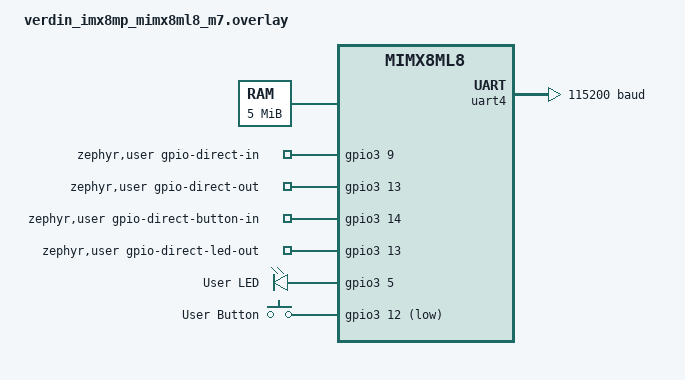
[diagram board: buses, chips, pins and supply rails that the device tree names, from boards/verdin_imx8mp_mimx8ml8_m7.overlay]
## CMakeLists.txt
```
cmake_minimum_required(VERSION 3.20.0)

find_package(Zephyr REQUIRED HINTS $ENV{ZEPHYR_BASE})
project(experiment_zephyr_isr_on_m7)

target_sources(app PRIVATE src/main.c)
```

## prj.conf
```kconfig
CONFIG_GPIO=y
CONFIG_ADC=y
CONFIG_DAC=y
CONFIG_LOG=y
CONFIG_LOG_DEFAULT_LEVEL=3
CONFIG_ASSERT=y
CONFIG_MAIN_STACK_SIZE=2048
```

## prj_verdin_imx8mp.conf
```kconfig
# from prj.conf (Nucleo board)
CONFIG_GPIO=y
CONFIG_ADC=n
CONFIG_DAC=n
CONFIG_LOG=y
# CONFIG_LOG_DEFAULT_LEVEL. 3:INFO
CONFIG_LOG_DEFAULT_LEVEL=3
CONFIG_ASSERT=y
CONFIG_MAIN_STACK_SIZE=2048
CONFIG_ZERO_LATENCY_IRQS=y
CONFIG_LOG_MODE_IMMEDIATE=y

# iMX definitions
CONFIG_SERIAL=y
CONFIG_UART_CONSOLE=y
CONFIG_CONSOLE=y
CONFIG_INPUT=y
CONFIG_FPU=y

# RPMsg service sample integration
# If you want raw, independent UART marker behavior, disable
# printk-to-log redirection (set CONFIG_LOG_PRINTK=n) and keep CONFIG_PRINTK=y.
CONFIG_LOG_PRINTK=n
CONFIG_PRINTK=y
CONFIG_IPM=y
CONFIG_IPM_LOG_LEVEL_INF=y
CONFIG_IPM_IMX_MAX_DATA_SIZE_16=n
CONFIG_IPM_IMX_MAX_DATA_SIZE_4=y
CONFIG_TIMESLICE_SIZE=1
# CONFIG_HEAP_MEM_POOL_SIZE=4096
CONFIG_HEAP_MEM_POOL_SIZE=1024

# OpenAMP
# https://github.com/zephyrproject-rtos/zephyr/blob/main/samples/subsys/ipc/openamp_rsc_table/README.rst
# CONFIG_OPENAMP_MASTER=n
# CONFIG_OPENAMP_SLAVE=y
# CONFIG_OPENAMP_VENDOR_ADDR_TRANSLATION=n
# CONFIG_OPENAMP_VRING_ALIGNMENT=4
# CONFIG_OPENAMP=y

# Add Linux remoteproc-compatible .resource_table to the firmware ELF.
# CONFIG_OPENAMP_RSC_TABLE_IPM_RX_ID=1
# CONFIG_OPENAMP_RSC_TABLE_IPM_TX_ID=0
# CONFIG_OPENAMP_RSC_TABLE_NUM_RPMSG_BUFF=8
# CONFIG_OPENAMP_RSC_TABLE=y


# RPMSG_SERVICE
# CONFIG_RPMSG_SERVICE_LOG_LEVEL_DBG=y
# CONFIG_RPMSG_SERVICE_MODE_REMOTE=y
# CONFIG_RPMSG_SERVICE=y

# https://github.com/zephyrproject-rtos/zephyr/blob/main/samples/subsys/ipc/openamp_rsc_table/prj.conf
# CONFIG_KERNEL_BIN_NAME="zephyr_openamp_rsc_table"
CONFIG_KERNEL_BIN_NAME="zephyr"
# CONFIG_PRINTK=n
CONFIG_IPM=y
CONFIG_MAIN_STACK_SIZE=1024
CONFIG_HEAP_MEM_POOL_SIZE=1024
CONFIG_OPENAMP=y
CONFIG_OPENAMP_RSC_TABLE_NUM_RPMSG_BUFF=8
CONFIG_OPENAMP_RSC_TABLE=y
CONFIG_OPENAMP_MASTER=n

CONFIG_SHELL=y
CONFIG_SHELL_BACKEND_RPMSG=y

# https://github.com/zephyrproject-rtos/zephyr/blob/main/samples/subsys/ipc/openamp_rsc_table/boards/imx8mp_evk_mimx8ml8_m7.conf
CONFIG_IPM_IMX_MAX_DATA_SIZE_16=n
CONFIG_IPM_IMX_MAX_DATA_SIZE_4=y
CONFIG_LOG_BACKEND_UART=y
CONFIG_OPENAMP_RSC_TABLE_IPM_RX_ID=1
CONFIG_OPENAMP_RSC_TABLE_IPM_TX_ID=0

# On UART: uart:~$
# CONFIG_SHELL=y
# CONFIG_SHELL_BACKEND_RPMSG=y

# Old
# CONFIG_RPMSG_SERVICE=y
# CONFIG_RPMSG_SERVICE_MODE_REMOTE=y
# CONFIG_RPMSG_SERVICE_LOG_LEVEL_DBG=y
# 
# # Disable resource table path to avoid vring macro redefinition warnings in
# # rpmsg_backend.c when building this app configuration.
# CONFIG_OPENAMP_RSC_TABLE=n
```

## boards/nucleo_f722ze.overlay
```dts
#include <zephyr/dt-bindings/gpio/gpio.h>

/ {
	zephyr,user {
		gpio-in-gpios = <&gpiog 9 GPIO_ACTIVE_HIGH>;
		gpio-out-gpios = <&gpiog 14 GPIO_ACTIVE_HIGH>;
	};
};

&adc2 {
	st,adc-clock-source = "SYNC";
	st,adc-prescaler = <2>;
	status = "okay";
};

&adc3 {
	st,adc-clock-source = "SYNC";
	st,adc-prescaler = <2>;
	status = "okay";
};

&dac1 {
	status = "okay";
	/* DAC2 (channel 2 of dac1) is also enabled */
};
```

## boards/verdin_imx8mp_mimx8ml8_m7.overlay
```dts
/*
Copied from: https://github.com/zephyrproject-rtos/zephyr/blob/main/samples/subsys/ipc/openamp_rsc_table/boards/imx8mp_evk_mimx8ml8_m7.overlay
*/

#include <zephyr/dt-bindings/gpio/gpio.h>

/ {
	chosen {
		/* Shared memory reserved for inter-processor communication. */
		zephyr,ipc_shm = &shram;
		zephyr,ipc = &mailbox0;
	};

	shram: memory@55000000 {
		compatible = "mmio-sram";
		reg = <0x55000000 0x500000>;
	};

	zephyr,user {
		gpio-direct-in-gpios = <&gpio3 9 GPIO_ACTIVE_HIGH>;
		gpio-direct-out-gpios = <&gpio3 13 GPIO_ACTIVE_HIGH>;

		/* nucleo_f722ze.dts: sw0 = &user_button */
		gpio-direct-button-in-gpios = <&gpio3 14 GPIO_ACTIVE_HIGH>;
		/* led1 = &blue_led */
		gpio-direct-led-out-gpios = <&gpio3 13 GPIO_ACTIVE_HIGH>;
	};
};

&mailbox0 {
	status = "okay";
};

/ {
	leds {
		compatible = "gpio-leds";

		user_led: user_led {
			label = "User LED";
			gpios = <&gpio3 5 GPIO_ACTIVE_HIGH>;
		};
	};

	buttons {
		compatible = "gpio-keys";

		user_button: user_button {
			label = "User Button";
			gpios = <&gpio3 12 GPIO_ACTIVE_LOW>;
			zephyr,code = <INPUT_KEY_0>;
		};
	};

	aliases {
		led0 = &user_led;
		sw0 = &user_button;
	};
};

&uart4 {
	status = "okay";
	current-speed = <115200>;
};

/* Uncomment if UART4 pins are not already configured by the board DTS.

&pinctrl {
	uart4_default: uart4_default {
		group1 {
			fsl,pins = <
				// MX8MP_IOMUXC_<PAD>__UART4_DCE_RX 0x140
				// MX8MP_IOMUXC_<PAD>__UART4_DCE_TX 0x140
			>;
		};
	};
};

&uart4 {
	pinctrl-0 = <&uart4_default>;
	pinctrl-names = "default";
};
*/
```

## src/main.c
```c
// https://github.com/zephyrproject-rtos/zephyr/blob/main/samples/subsys/ipc/openamp_rsc_table/src/main_remote.c

/*
 * Copyright (c) 2020, STMICROELECTRONICS
 *
 * SPDX-License-Identifier: Apache-2.0
 */

#include <zephyr/kernel.h>
#include <zephyr/device.h>
#include <string.h>
#include <stdio.h>
#include <stdlib.h>

#include <zephyr/drivers/ipm.h>

#include <openamp/open_amp.h>
#include <metal/sys.h>
#include <metal/io.h>
#include <resource_table.h>
#include <addr_translation.h>

#ifdef CONFIG_SHELL_BACKEND_RPMSG
#include <zephyr/shell/shell_rpmsg.h>
#endif

#include <zephyr/logging/log.h>
LOG_MODULE_REGISTER(openamp_rsc_table);

#define SHM_DEVICE_NAME	"shm"

#if !DT_HAS_CHOSEN(zephyr_ipc_shm)
#error "Sample requires definition of shared memory for rpmsg"
#endif

#if CONFIG_IPM_MAX_DATA_SIZE > 0

#define	IPM_SEND(dev, w, id, d, s) ipm_send(dev, w, id, d, s)
#else
#define IPM_SEND(dev, w, id, d, s) ipm_send(dev, w, id, NULL, 0)
#endif

/* Constants derived from device tree */
#define SHM_NODE		DT_CHOSEN(zephyr_ipc_shm)
#define SHM_START_ADDR	DT_REG_ADDR(SHM_NODE)
#define SHM_SIZE		DT_REG_SIZE(SHM_NODE)

#define APP_TASK_STACK_SIZE (1024)

/* Add 1024 extra bytes for the TTY task stack for the "tx_buff" buffer. */
#define APP_TTY_TASK_STACK_SIZE (1536)

K_THREAD_STACK_DEFINE(thread_mng_stack, APP_TASK_STACK_SIZE);
K_THREAD_STACK_DEFINE(thread_rp__client_stack, APP_TASK_STACK_SIZE);
K_THREAD_STACK_DEFINE(thread_tty_stack, APP_TTY_TASK_STACK_SIZE);

static struct k_thread thread_mng_data;
static struct k_thread thread_rp__client_data;
static struct k_thread thread_tty_data;

static const struct device *const ipm_handle =
	DEVICE_DT_GET(DT_CHOSEN(zephyr_ipc));

static metal_phys_addr_t shm_physmap = SHM_START_ADDR;
static metal_phys_addr_t rsc_tab_physmap;

static struct metal_io_region shm_io_data; /* shared memory */
static struct metal_io_region rsc_io_data; /* rsc_table memory */

struct rpmsg_rcv_msg {
	void *data;
	size_t len;
};

static struct metal_io_region *shm_io = &shm_io_data;

static struct metal_io_region *rsc_io = &rsc_io_data;
static struct rpmsg_virtio_device rvdev;

static void *rsc_table;
static struct rpmsg_device *rpdev;

static char rx_sc_msg[20];  /* should receive "Hello world!" */
static struct rpmsg_endpoint sc_ept;
static struct rpmsg_rcv_msg sc_msg = {.data = rx_sc_msg};

static struct rpmsg_endpoint tty_ept;
static struct rpmsg_rcv_msg tty_msg;

static K_SEM_DEFINE(data_sem, 0, 1);
static K_SEM_DEFINE(data_sc_sem, 0, 1);
static K_SEM_DEFINE(data_tty_sem, 0, 1);

static void platform_ipm_callback(const struct device *dev, void *context,
				  uint32_t id, volatile void *data)
{
	LOG_DBG("%s: msg received from mb %d", __func__, id);
	k_sem_give(&data_sem);
}

static int rpmsg_recv_cs_callback(struct rpmsg_endpoint *ept, void *data,
				  size_t len, uint32_t src, void *priv)
{
	memcpy(sc_msg.data, data, len);
	sc_msg.len = len;
	k_sem_give(&data_sc_sem);

	return RPMSG_SUCCESS;
}

static int rpmsg_recv_tty_callback(struct rpmsg_endpoint *ept, void *data,
				   size_t len, uint32_t src, void *priv)
{
	struct rpmsg_rcv_msg *msg = priv;

	rpmsg_hold_rx_buffer(ept, data);
	msg->data = data;
	msg->len = len;
	k_sem_give(&data_tty_sem);

	return RPMSG_SUCCESS;
}

static void receive_message(unsigned char **msg, unsigned int *len)
{
	int status = k_sem_take(&data_sem, K_FOREVER);

	if (status == 0) {
		rproc_virtio_notified(rvdev.vdev, VRING1_ID);
	}
}

static void new_service_cb(struct rpmsg_device *rdev, const char *name,
			   uint32_t src)
{
	LOG_ERR("%s: unexpected ns service receive for name %s",
		__func__, name);
}

int mailbox_notify(void *priv, uint32_t id)
{
	ARG_UNUSED(priv);

	LOG_DBG("%s: msg received", __func__);
	IPM_SEND(ipm_handle, 0, id, &id, 4);

	return 0;
}

int platform_init(void)
{
	int rsc_size;
	struct metal_init_params metal_params = METAL_INIT_DEFAULTS;
	int status;

	status = metal_init(&metal_params);
	if (status) {
		LOG_ERR("metal_init: failed: %d", status);
		return -1;
	}

	/* declare shared memory region */
	metal_io_init(shm_io, (void *)SHM_START_ADDR, &shm_physmap,
		      SHM_SIZE, -1, 0, addr_translation_get_ops(shm_physmap));

	/* declare resource table region */
	rsc_table_get(&rsc_table, &rsc_size);
	rsc_tab_physmap = (uintptr_t)rsc_table;

	metal_io_init(rsc_io, rsc_table,
		      &rsc_tab_physmap, rsc_size, -1, 0, NULL);

	/* setup IPM */
	if (!device_is_ready(ipm_handle)) {
		LOG_ERR("IPM device is not ready");
		return -1;
	}

	ipm_register_callback(ipm_handle, platform_ipm_callback, NULL);

	status = ipm_set_enabled(ipm_handle, 1);
	if (status) {
		LOG_ERR("ipm_set_enabled failed");
		return -1;
	}

	return 0;
}

static void cleanup_system(void)
{
	ipm_set_enabled(ipm_handle, 0);
	rpmsg_deinit_vdev(&rvdev);
	metal_finish();
}

struct  rpmsg_device *
platform_create_rpmsg_vdev(unsigned int vdev_index,
			   unsigned int role,
			   void (*rst_cb)(struct virtio_device *vdev),
			   rpmsg_ns_bind_cb ns_cb)
{
	struct fw_rsc_vdev_vring *vring_rsc;
	struct virtio_device *vdev;
	int ret;

	vdev = rproc_virtio_create_vdev(VIRTIO_DEV_DEVICE, VDEV_ID,
					rsc_table_to_vdev(rsc_table),
					rsc_io, NULL, mailbox_notify, NULL);

	if (!vdev) {
		LOG_ERR("failed to create vdev");
		return NULL;
	}

	/* wait master rpmsg init completion */
	rproc_virtio_wait_remote_ready(vdev);

	vring_rsc = rsc_table_get_vring0(rsc_table);
	ret = rproc_virtio_init_vring(vdev, 0, vring_rsc->notifyid,
				      (void *)vring_rsc->da, rsc_io,
				      vring_rsc->num, vring_rsc->align);
	if (ret) {
		LOG_ERR("failed to init vring 0");
		goto failed;
	}

	vring_rsc = rsc_table_get_vring1(rsc_table);
	ret = rproc_virtio_init_vring(vdev, 1, vring_rsc->notifyid,
				      (void *)vring_rsc->da, rsc_io,
				      vring_rsc->num, vring_rsc->align);
	if (ret) {
		LOG_ERR("failed to init vring 1");
		goto failed;
	}

	ret = rpmsg_init_vdev(&rvdev, vdev, ns_cb, shm_io, NULL);
	if (ret) {
		LOG_ERR("failed rpmsg_init_vdev");
		goto failed;
	}

	return rpmsg_virtio_get_rpmsg_device(&rvdev);

failed:
	rproc_virtio_remove_vdev(vdev);

	return NULL;
}

void app_rpmsg_client_sample(void *arg1, void *arg2, void *arg3)
{
	ARG_UNUSED(arg1);
	ARG_UNUSED(arg2);
	ARG_UNUSED(arg3);

	unsigned int msg_cnt = 0;
	int ret = 0;

	k_sem_take(&data_sc_sem,  K_FOREVER);

	LOG_INF("OpenAMP[remote] Linux sample client responder started");

	ret = rpmsg_create_ept(&sc_ept, rpdev, "rpmsg-client-sample",
			       RPMSG_ADDR_ANY, RPMSG_ADDR_ANY,
			       rpmsg_recv_cs_callback, NULL);
	if (ret) {
		LOG_ERR("[Linux sample client] Could not create endpoint: %d", ret);
		goto task_end;
	}

	while (msg_cnt < 100) {
		k_sem_take(&data_sc_sem,  K_FOREVER);
		msg_cnt++;
		LOG_INF("[Linux sample client] incoming msg %d: %.*s", msg_cnt, sc_msg.len,
			(char *)sc_msg.data);
		rpmsg_send(&sc_ept, sc_msg.data, sc_msg.len);
	}
	rpmsg_destroy_ept(&sc_ept);

task_end:
	LOG_INF("OpenAMP Linux sample client responder ended");
}

void app_rpmsg_tty(void *arg1, void *arg2, void *arg3)
{
	ARG_UNUSED(arg1);
	ARG_UNUSED(arg2);
	ARG_UNUSED(arg3);

	unsigned char tx_buff[512];
	int ret = 0;

	k_sem_take(&data_tty_sem,  K_FOREVER);

	LOG_INF("OpenAMP[remote] Linux TTY responder started");

	tty_ept.priv = &tty_msg;
	ret = rpmsg_create_ept(&tty_ept, rpdev, "rpmsg-tty",
			       RPMSG_ADDR_ANY, RPMSG_ADDR_ANY,
			       rpmsg_recv_tty_callback, NULL);
	if (ret) {
		LOG_ERR("[Linux TTY] Could not create endpoint: %d", ret);
		goto task_end;
	}

	while (tty_ept.addr !=  RPMSG_ADDR_ANY) {
		k_sem_take(&data_tty_sem,  K_FOREVER);
		if (tty_msg.len) {
			LOG_INF("[Linux TTY] incoming msg: %.*s",
				(int)tty_msg.len, (char *)tty_msg.data);
			snprintf(tx_buff, 13, "TTY 0x%04x: ", tty_ept.addr);
			memcpy(&tx_buff[12], tty_msg.data, tty_msg.len);
			rpmsg_send(&tty_ept, tx_buff, tty_msg.len + 12);
			rpmsg_release_rx_buffer(&tty_ept, tty_msg.data);
		}
		tty_msg.len = 0;
		tty_msg.data = NULL;
	}
	rpmsg_destroy_ept(&tty_ept);

task_end:
	LOG_INF("OpenAMP Linux TTY responder ended");
}

void rpmsg_mng_task(void *arg1, void *arg2, void *arg3)
{
	ARG_UNUSED(arg1);
	ARG_UNUSED(arg2);
	ARG_UNUSED(arg3);

	unsigned char *msg;
	unsigned int len;
	int ret = 0;

	LOG_INF("OpenAMP[remote] Linux responder demo started");

	/* Initialize platform */
	ret = platform_init();
	if (ret) {
		LOG_ERR("Failed to initialize platform");
		ret = -1;
		goto task_end;
	}

	rpdev = platform_create_rpmsg_vdev(0, VIRTIO_DEV_DEVICE, NULL,
					   new_service_cb);
	if (!rpdev) {
		LOG_ERR("Failed to create rpmsg virtio device");
		ret = -1;
		goto task_end;
	}

#ifdef CONFIG_SHELL_BACKEND_RPMSG
	(void)shell_backend_rpmsg_init_transport(rpdev);
#endif

	/* start the rpmsg clients */
	k_sem_give(&data_sc_sem);
	k_sem_give(&data_tty_sem);

	while (1) {
		receive_message(&msg, &len);
	}

task_end:
	cleanup_system();

	LOG_INF("OpenAMP demo ended");
}

int main(void)
{
	LOG_INF("Starting application threads!");
	k_thread_create(&thread_mng_data, thread_mng_stack, APP_TASK_STACK_SIZE,
			rpmsg_mng_task,
			NULL, NULL, NULL, K_PRIO_COOP(8), 0, K_NO_WAIT);
	k_thread_create(&thread_rp__client_data, thread_rp__client_stack, APP_TASK_STACK_SIZE,
			app_rpmsg_client_sample,
			NULL, NULL, NULL, K_PRIO_COOP(7), 0, K_NO_WAIT);
	k_thread_create(&thread_tty_data, thread_tty_stack, APP_TTY_TASK_STACK_SIZE,
			app_rpmsg_tty,
			NULL, NULL, NULL, K_PRIO_COOP(7), 0, K_NO_WAIT);
	return 0;
}
```
